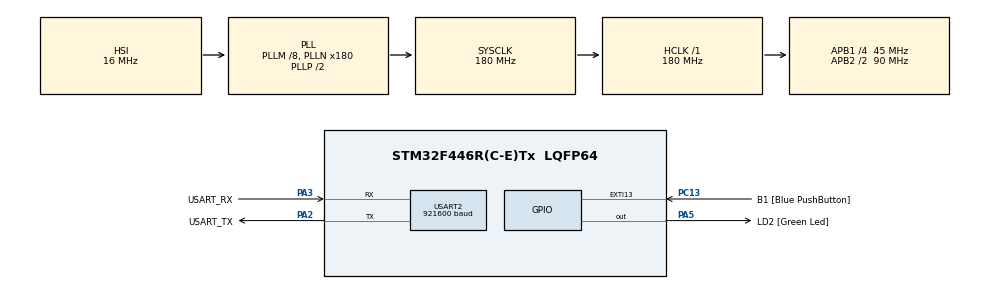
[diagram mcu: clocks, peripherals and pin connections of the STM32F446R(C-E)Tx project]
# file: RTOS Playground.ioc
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FREERTOS.Queues01=QueueSimpleData,8,uint8_t,0,Dynamic,NULL,NULL;QueueStructData,8,Data,0,Dynamic,NULL,NULL
FREERTOS.Tasks01=defaultTask,24,128,StartDefaultTask,Default,NULL,Dynamic,NULL,NULL;helloTask,8,128,StartHelloTask,Default,NULL,Dynamic,NULL,NULL;senderTask,8,128,StartSenderTask,Default,NULL,Dynamic,NULL,NULL
Mcu.Family=STM32F4
Mcu.Name=STM32F446R(C-E)Tx
Mcu.Package=LQFP64
NVIC.EXTI15_10_IRQn=true\:5\:0\:false\:false\:true\:true\:true\:true\:true
NVIC.PriorityGroup=NVIC_PRIORITYGROUP_4
NVIC.TIM6_DAC_IRQn=true\:15\:0\:false\:false\:true\:false\:false\:true\:true
NVIC.TimeBase=TIM6_DAC_IRQn
NVIC.TimeBaseIP=TIM6
PA13.GPIO_Label=TMS
PA13.Mode=Serial_Wire
PA13.Signal=SYS_JTMS-SWDIO
PA14.GPIO_Label=TCK
PA14.Mode=Serial_Wire
PA14.Signal=SYS_JTCK-SWCLK
PA2.GPIO_Label=USART_TX
PA2.Mode=Asynchronous
PA2.Signal=USART2_TX
PA3.GPIO_Label=USART_RX
PA3.Mode=Asynchronous
PA3.Signal=USART2_RX
PA5.GPIO_Label=LD2 [Green Led]
PA5.Signal=GPIO_Output
PB3.GPIO_Label=SWO
PB3.Signal=SYS_JTDO-SWO
PC13.GPIO_Label=B1 [Blue PushButton]
PC13.GPIO_ModeDefaultEXTI=GPIO_MODE_IT_FALLING
PC13.Signal=GPXTI13
PC14-OSC32_IN.Mode=LSE-External-Oscillator
PC14-OSC32_IN.Signal=RCC_OSC32_IN
PC15-OSC32_OUT.Mode=LSE-External-Oscillator
PC15-OSC32_OUT.Signal=RCC_OSC32_OUT
PH0-OSC_IN.Mode=HSE-External-Oscillator
PH0-OSC_IN.Signal=RCC_OSC_IN
PH1-OSC_OUT.Mode=HSE-External-Oscillator
PH1-OSC_OUT.Signal=RCC_OSC_OUT
ProjectManager.HeapSize=0x200
ProjectManager.StackSize=0x400
ProjectManager.TargetToolchain=STM32CubeIDE
RCC.48MHZClocksFreq_Value=84000000
RCC.AHBFreq_Value=180000000
RCC.APB1CLKDivider=RCC_HCLK_DIV4
RCC.APB1Freq_Value=45000000
RCC.APB1TimFreq_Value=90000000
RCC.APB2CLKDivider=RCC_HCLK_DIV2
RCC.APB2Freq_Value=90000000
RCC.APB2TimFreq_Value=180000000
RCC.CortexFreq_Value=180000000
RCC.FLatency-AdvancedSettings=FLASH_LATENCY_5
RCC.HCLKFreq_Value=180000000
RCC.HSE_VALUE=8000000
RCC.HSI_VALUE=16000000
RCC.PLLM=8
RCC.PLLN=180
RCC.SYSCLKFreq_VALUE=180000000
RCC.SYSCLKSource=RCC_SYSCLKSOURCE_PLLCLK
RCC.USBFreq_Value=180000000
RCC.VCOOutputFreq_Value=360000000
USART2.BaudRate=921600
USART2.VirtualMode=VM_ASYNC
VP_FREERTOS_VS_CMSIS_V2.Mode=CMSIS_V2
VP_SYS_VS_tim6.Mode=TIM6
board=NUCLEO-F446RE

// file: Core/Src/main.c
/* USER CODE BEGIN Header */
/**
  ******************************************************************************
  * @file           : main.c
  * @brief          : Main program body
  ******************************************************************************
  * @attention
  *
  * Copyright (c) 2024 STMicroelectronics.
  * All rights reserved.
  *
  * This software is licensed under terms that can be found in the LICENSE file
  * in the root directory of this software component.
  * If no LICENSE file comes with this software, it is provided AS-IS.
  *
  ******************************************************************************
  */
/* USER CODE END Header */
#include "main.h"
#include "cmsis_os.h"
#include "usart.h"
#include "gpio.h"

/* USER CODE BEGIN Includes */
#include <stdint.h>
#include <stdio.h>
/* USER CODE END Includes */

void SystemClock_Config(void);
void MX_FREERTOS_Init(void);
/* USER CODE BEGIN PFP */
int __io_putchar(int ch) {
    HAL_UART_Transmit(&huart2, (uint8_t*)&ch, 1, HAL_MAX_DELAY);
    return ch;
}

int _write(int file, char *ptr, int len) {
    HAL_UART_Transmit(&huart2, (uint8_t*)ptr, len, HAL_MAX_DELAY);
    return len;
}
/* USER CODE END PFP */

int main(void)
{

  /* MCU Configuration--------------------------------------------------------*/

  /* Reset of all peripherals, Initializes the Flash interface and the Systick. */
  HAL_Init();

  /* Configure the system clock */
  SystemClock_Config();

  /* Initialize all configured peripherals */
  MX_GPIO_Init();
  MX_USART2_UART_Init();

  /* Init scheduler */
  osKernelInitialize();

  /* Call init function for freertos objects (in cmsis_os2.c) */
  MX_FREERTOS_Init();

  /* Start scheduler */
  osKernelStart();

  /* We should never get here as control is now taken by the scheduler */

  /* Infinite loop */
  while (1)
  {

  }
}

void SystemClock_Config(void)
{
  RCC_OscInitTypeDef RCC_OscInitStruct = {0};
  RCC_ClkInitTypeDef RCC_ClkInitStruct = {0};

  /** Configure the main internal regulator output voltage
  */
  __HAL_RCC_PWR_CLK_ENABLE();
  __HAL_PWR_VOLTAGESCALING_CONFIG(PWR_REGULATOR_VOLTAGE_SCALE1);

  /** Initializes the RCC Oscillators according to the specified parameters
  * in the RCC_OscInitTypeDef structure.
  */
  RCC_OscInitStruct.OscillatorType = RCC_OSCILLATORTYPE_HSI;
  RCC_OscInitStruct.HSIState = RCC_HSI_ON;
  RCC_OscInitStruct.HSICalibrationValue = RCC_HSICALIBRATION_DEFAULT;
  RCC_OscInitStruct.PLL.PLLState = RCC_PLL_ON;
  RCC_OscInitStruct.PLL.PLLSource = RCC_PLLSOURCE_HSI;
  RCC_OscInitStruct.PLL.PLLM = 8;
  RCC_OscInitStruct.PLL.PLLN = 180;
  RCC_OscInitStruct.PLL.PLLP = RCC_PLLP_DIV2;
  RCC_OscInitStruct.PLL.PLLQ = 2;
  RCC_OscInitStruct.PLL.PLLR = 2;
  if (HAL_RCC_OscConfig(&RCC_OscInitStruct) != HAL_OK)
  {
    Error_Handler();
  }

  /** Activate the Over-Drive mode
  */
  if (HAL_PWREx_EnableOverDrive() != HAL_OK)
  {
    Error_Handler();
  }

  /** Initializes the CPU, AHB and APB buses clocks
  */
  RCC_ClkInitStruct.ClockType = RCC_CLOCKTYPE_HCLK|RCC_CLOCKTYPE_SYSCLK
                              |RCC_CLOCKTYPE_PCLK1|RCC_CLOCKTYPE_PCLK2;
  RCC_ClkInitStruct.SYSCLKSource = RCC_SYSCLKSOURCE_PLLCLK;
  RCC_ClkInitStruct.AHBCLKDivider = RCC_SYSCLK_DIV1;
  RCC_ClkInitStruct.APB1CLKDivider = RCC_HCLK_DIV4;
  RCC_ClkInitStruct.APB2CLKDivider = RCC_HCLK_DIV2;

  if (HAL_RCC_ClockConfig(&RCC_ClkInitStruct, FLASH_LATENCY_5) != HAL_OK)
  {
    Error_Handler();
  }
}

void HAL_TIM_PeriodElapsedCallback(TIM_HandleTypeDef *htim)
{
  if (htim->Instance == TIM6) {
    HAL_IncTick();
  }
}

void Error_Handler(void)
{
  __disable_irq();
  while (1)
  {
  }
}

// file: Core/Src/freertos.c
/* USER CODE BEGIN Header */
/**
  ******************************************************************************
  * File Name          : freertos.c
  * Description        : Code for freertos applications
  ******************************************************************************
  * @attention
  *
  * Copyright (c) 2024 STMicroelectronics.
  * All rights reserved.
  *
  * This software is licensed under terms that can be found in the LICENSE file
  * in the root directory of this software component.
  * If no LICENSE file comes with this software, it is provided AS-IS.
  *
  ******************************************************************************
  */
/* USER CODE END Header */

#include "FreeRTOS.h"
#include "task.h"
#include "main.h"
#include "cmsis_os.h"

/* USER CODE BEGIN Includes */
#include <stdint.h>
#include <stdio.h>
/* USER CODE END Includes */

/* USER CODE BEGIN PD */
typedef struct
{
	uint16_t Value;
	uint8_t Source;
} Data;
/* USER CODE END PD */

/* USER CODE BEGIN Variables */
Data DataToSend1={'a', 1};
Data DataToSend2={'b', 2};
/* USER CODE END Variables */
/* Definitions for defaultTask */
osThreadId_t defaultTaskHandle;
const osThreadAttr_t defaultTask_attributes = {
  .name = "defaultTask",
  .stack_size = 128 * 4,
  .priority = (osPriority_t) osPriorityNormal,
};
/* Definitions for helloTask */
osThreadId_t helloTaskHandle;
const osThreadAttr_t helloTask_attributes = {
  .name = "helloTask",
  .stack_size = 128 * 4,
  .priority = (osPriority_t) osPriorityLow,
};
/* Definitions for senderTask */
osThreadId_t senderTaskHandle;
const osThreadAttr_t senderTask_attributes = {
  .name = "senderTask",
  .stack_size = 128 * 4,
  .priority = (osPriority_t) osPriorityLow,
};
/* Definitions for QueueSimpleData */
osMessageQueueId_t QueueSimpleDataHandle;
const osMessageQueueAttr_t QueueSimpleData_attributes = {
  .name = "QueueSimpleData"
};
/* Definitions for QueueStructData */
osMessageQueueId_t QueueStructDataHandle;
const osMessageQueueAttr_t QueueStructData_attributes = {
  .name = "QueueStructData"
};

void StartDefaultTask(void *argument);
void StartHelloTask(void *argument);
void StartSenderTask(void *argument);

void MX_FREERTOS_Init(void); /* (MISRA C 2004 rule 8.1) */

void MX_FREERTOS_Init(void) {

  /* Create the queue(s) */
  /* creation of QueueSimpleData */
  QueueSimpleDataHandle = osMessageQueueNew (8, sizeof(uint8_t), &QueueSimpleData_attributes);

  /* creation of QueueStructData */
  QueueStructDataHandle = osMessageQueueNew (8, sizeof(Data), &QueueStructData_attributes);

  /* Create the thread(s) */
  /* creation of defaultTask */
  defaultTaskHandle = osThreadNew(StartDefaultTask, NULL, &defaultTask_attributes);

  /* creation of helloTask */
  helloTaskHandle = osThreadNew(StartHelloTask, NULL, &helloTask_attributes);

  /* creation of senderTask */
  senderTaskHandle = osThreadNew(StartSenderTask, NULL, &senderTask_attributes);

}

void StartDefaultTask(void *argument)
{
  /* USER CODE BEGIN StartDefaultTask */
  uint8_t x=0;
  uint32_t queue_cap = osMessageQueueGetCapacity(QueueSimpleDataHandle);
  uint32_t num_in_queue, space_in_queue;
  osStatus_t s_state;
  /* Infinite loop */
  for(;;)
  {
	HAL_GPIO_TogglePin(LD2_GPIO_Port, LD2_Pin);
	num_in_queue = osMessageQueueGetCount(QueueSimpleDataHandle);
	space_in_queue = osMessageQueueGetSpace(QueueSimpleDataHandle);
	s_state = osMessageQueuePut(QueueSimpleDataHandle, &x, 0, 100);
	if(s_state == osOK)
	{
		if(++x>9)
		{
			x=0;
		}
	}
	else
	{
		printf("osMessageQueuePut Timeout\n");
	}
	printf("Queue Stats (%u:%u) Space %u\n", num_in_queue, queue_cap, space_in_queue);

	s_state = osMessageQueuePut(QueueStructDataHandle, &DataToSend1, 0, 100);
	if(s_state != osOK)
	{
		printf("osMessageQueuePut Timeout\n");
	}

    osDelay(1000);
  }
  /* USER CODE END StartDefaultTask */
}

void StartHelloTask(void *argument)
{
  /* USER CODE BEGIN StartHelloTask */
  uint8_t rec_x;
  Data retvalue;
  osStatus_t r_state;
  /* Infinite loop */
  for(;;)
  {
	r_state = osMessageQueueGet(QueueSimpleDataHandle, &rec_x, 0, 0);
	if(r_state == osOK)
	{
		printf("Hello RTOS %d\n",rec_x);
	}
	else
	{
//		printf("osMessageQueueGet Timeout\n");
	}

	r_state = osMessageQueueGet(QueueStructDataHandle, &retvalue, 0, 0);
	if(r_state == osOK)
	{
		printf("Struct Data: %c, %u\n",retvalue.Value, retvalue.Source);
	}
	else
	{
//		printf("osMessageQueueGet Timeout\n");
	}

    osDelay(100);
  }
  /* USER CODE END StartHelloTask */
}

void StartSenderTask(void *argument)
{
  /* USER CODE BEGIN StartSenderTask */
  /* Infinite loop */
  for(;;)
  {
	osMessageQueuePut(QueueStructDataHandle, &DataToSend2, 0, 200);
    osDelay(2000);
  }
  /* USER CODE END StartSenderTask */
}
